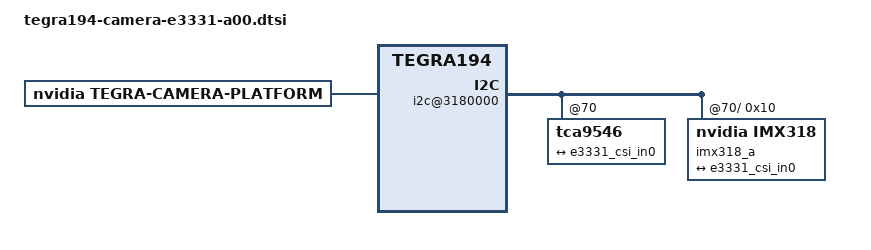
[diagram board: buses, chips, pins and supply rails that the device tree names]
/*
 * Copyright (c) 2017-2019, NVIDIA CORPORATION.  All rights reserved.
 *
 * This program is free software; you can redistribute it and/or modify
 * it under the terms of the GNU General Public License as published by
 * the Free Software Foundation; either version 2 of the License, or
 * (at your option) any later version.
 *
 * This program is distributed in the hope that it will be useful, but WITHOUT
 * ANY WARRANTY; without even the implied warranty of MERCHANTABILITY or
 * FITNESS FOR A PARTICULAR PURPOSE.  See the GNU General Public License for
 * more details.
 *
 * You should have received a copy of the GNU General Public License
 * along with this program.  If not, see <http://www.gnu.org/licenses/>.
 */

/ {
	host1x {
		vi@15c10000 {
			num-channels = <1>;
			ports {
				#address-cells = <1>;
				#size-cells = <0>;
				port@0 {
					reg = <0>;
					e3331_vi_in0: endpoint {
						port-index = <0>;
						bus-width = <3>;
						remote-endpoint = <&e3331_csi_out0>;
					};
				};
			};
		};

		nvcsi@15a00000 {
			num-channels = <1>;
			channel@0 {
				reg = <0>;
				ports {
					#address-cells = <1>;
					#size-cells = <0>;
					port@0 {
						reg = <0>;
						e3331_csi_in0: endpoint@0 {
							port-index = <0>;
							bus-width = <3>;
							remote-endpoint = <&e3331_imx318_out0>;
						};
					};
					port@1 {
						reg = <1>;
						e3331_csi_out0: endpoint@1 {
							remote-endpoint = <&e3331_vi_in0>;
						};
					};
				};
			};
		};
	};

	i2c@3180000 {
		tca9546@70 {
			i2c@0 {
				imx318_a@10 {
					compatible = "nvidia,imx318";
					reg = <0x10>;

					/* Physical dimensions of sensor */
					physical_w = "6.811";
					physical_h = "5.254";

					sensor_model = "imx318";
					/* Define any required hw resources needed by driver */
					/* ie. clocks, io pins, power sources */
					avdd-reg = "vana";
					iovdd-reg = "vif";
					dvdd-reg = "vdig";

					has-eeprom;

					/**
					* ==== Modes ====
					* A modeX node is required to support v4l2 driver
					* implementation with NVIDIA camera software stack
					*
					* == Signal properties ==
					*
					* phy_mode = "";
					* PHY mode used by the MIPI lanes for this device
					*
					* tegra_sinterface = "";
					* CSI Serial interface connected to tegra
					* Incase of virtual HW devices, use virtual
					* For SW emulated devices, use host
					*
					* pix_clk_hz = "";
					* Sensor pixel clock used for calculations like exposure and framerate
					*
					* readout_orientation = "0";
					* Based on camera module orientation.
					* Only change readout_orientation if you specifically
					* Program a different readout order for this mode
					*
					* == Image format Properties ==
					*
					* active_w = "";
					* Pixel active region width
					*
					* active_h = "";
					* Pixel active region height
					*
					* pixel_t = "";
					* The sensor readout pixel pattern
					*
					* line_length = "";
					* Pixel line length (width) for sensor mode.
					*
					* == Source Control Settings ==
					*
					* Gain factor used to convert fixed point integer to float
					* Gain range [min_gain/gain_factor, max_gain/gain_factor]
					* Gain step [step_gain/gain_factor is the smallest step that can be configured]
					* Default gain [Default gain to be initialized for the control.
					*     use min_gain_val as default for optimal results]
					* Framerate factor used to convert fixed point integer to float
					* Framerate range [min_framerate/framerate_factor, max_framerate/framerate_factor]
					* Framerate step [step_framerate/framerate_factor is the smallest step that can be configured]
					* Default Framerate [Default framerate to be initialized for the control.
					*     use max_framerate to get required performance]
					* Exposure factor used to convert fixed point integer to float
					* For convenience use 1 sec = 1000000us as conversion factor
					* Exposure range [min_exp_time/exposure_factor, max_exp_time/exposure_factor]
					* Exposure step [step_exp_time/exposure_factor is the smallest step that can be configured]
					* Default Exposure Time [Default exposure to be initialized for the control.
					*     Set default exposure based on the default_framerate for optimal exposure settings]
					*
					* gain_factor = ""; (integer factor used for floating to fixed point conversion)
					* min_gain_val = ""; (ceil to integer)
					* max_gain_val = ""; (ceil to integer)
					* step_gain_val = ""; (ceil to integer)
					* default_gain = ""; (ceil to integer)
					* Gain limits for mode
					*
					* exposure_factor = ""; (integer factor used for floating to fixed point conversion)
					* min_exp_time = ""; (ceil to integer)
					* max_exp_time = ""; (ceil to integer)
					* step_exp_time = ""; (ceil to integer)
					* default_exp_time = ""; (ceil to integer)
					* Exposure Time limits for mode (sec)
					*
					* framerate_factor = ""; (integer factor used for floating to fixed point conversion)
					* min_framerate = ""; (ceil to integer)
					* max_framerate = ""; (ceil to integer)
					* step_framerate = ""; (ceil to integer)
					* default_framerate = ""; (ceil to integer)
					* Framerate limits for mode (fps)
					*
					* embedded_metadata_height = "";
					* Sensor embedded metadata height in units of rows.
					* If sensor does not support embedded metadata value should be 0.
					*/
					mode0 { /*IMX318_MODE_5488X4112_30FPS*/
						mclk_khz = "24000";
						num_lanes = "3";
						phy_mode = "CPHY";
						tegra_sinterface = "serial_a";
						discontinuous_clk = "no";
						dpcm_enable = "false";
						cil_settletime = "20";

						active_w = "5488";
						active_h = "4112";
						mode_type = "bayer";
						pixel_phase = "bggr";
						csi_pixel_bit_depth = "10";
						readout_orientation = "0";
						line_length = "5488";
						inherent_gain = "1";
						mclk_multiplier = "31.25";
						pix_clk_hz = "750000000";

						gain_factor = "16";
						framerate_factor = "1000000";
						exposure_factor = "1000000";
						min_gain_val = "16"; /* 1.0 */
						max_gain_val = "256"; /* 16.0 */
						step_gain_val = "1"; /* 0.125 */
						default_gain = "16";
						min_hdr_ratio = "1";
						max_hdr_ratio = "1";
						min_framerate = "1500000"; /* 1.5 */
						max_framerate = "30000000"; /* 30 */
						step_framerate = "1";
						default_framerate= "30000000";
						min_exp_time = "34"; /* us */
						max_exp_time = "550385"; /* us */
						step_exp_time = "1";
						default_exp_time = "33334";/* us */
						embedded_metadata_height = "0";
					};

					ports {
						#address-cells = <1>;
						#size-cells = <0>;

						port@0 {
							reg = <0>;
							e3331_imx318_out0: endpoint {
								port-index = <0>;
								bus-width = <3>;
								remote-endpoint = <&e3331_csi_in0>;
							};
						};
					};
				};
			};
		};
	};


	tegra-camera-platform {
		compatible = "nvidia, tegra-camera-platform";
		/**
		* Physical settings to calculate max ISO BW
		*
		* num_csi_lanes = <>;
		* Total number of CSI lanes when all cameras are active
		*
		* max_lane_speed = <>;
		* Max lane speed in Kbit/s
		*
		* min_bits_per_pixel = <>;
		* Min bits per pixel
		*
		* vi_peak_byte_per_pixel = <>;
		* Max byte per pixel for the VI ISO case
		*
		* vi_bw_margin_pct = <>;
		* Vi bandwidth margin in percentage
		*
		* max_pixel_rate = <>;
		* Max pixel rate in Kpixel/s for the ISP ISO case
		* Set this to the highest pix_clk_hz out of all available modes.
		*
		* isp_peak_byte_per_pixel = <>;
		* Max byte per pixel for the ISP ISO case
		*
		* isp_bw_margin_pct = <>;
		* Isp bandwidth margin in percentage
		*/
		num_csi_lanes = <3>;
		max_lane_speed = <1500000>;
		min_bits_per_pixel = <10>;
		vi_peak_byte_per_pixel = <2>;
		vi_bw_margin_pct = <25>;
		max_pixel_rate = <800000>;
		isp_peak_byte_per_pixel = <5>;
		isp_bw_margin_pct = <25>;

		/**
		* The general guideline for naming badge_info contains 3 parts, and is as follows,
		* The first part is the camera_board_id for the module; if the module is in a FFD
		* platform, then use the platform name for this part.
		* The second part contains the position of the module, ex. “rear” or “front”.
		* The third part contains the last 6 characters of a part number which is found
		* in the module's specsheet from the vender.
		*/
		modules {
			module0 {
				badge = "e3331_rear_22N02A";
				position = "rear";
				orientation = "1";
				drivernode0 {
					pcl_id = "v4l2_sensor";
					devname = "imx318 30-0010";
					proc-device-tree = "/proc/device-tree/i2c@3180000/tca9546@70/i2c@0/imx318_a@10";
				};
			};
		};
	};
};
